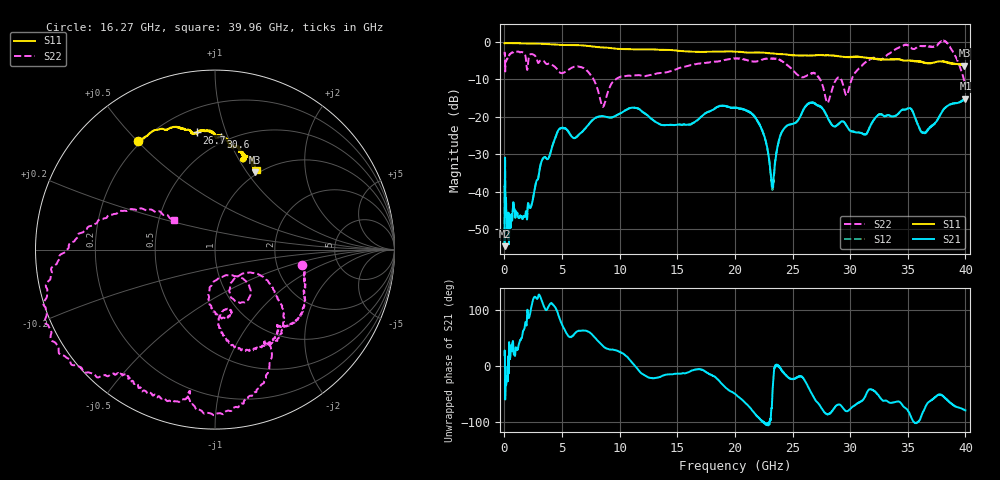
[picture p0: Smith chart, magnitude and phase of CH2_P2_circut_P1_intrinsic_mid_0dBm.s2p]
!Keysight Technologies,N5222B,MY61257109,A.17.25.03
!Date: Tuesday, July 21, 2026 12:24:31
!Correction: S11(C  2-Port  )
!S21(C  2-Port  )
!S12(C  2-Port  )
!S22(C  2-Port  )
!S2P File: Measurements: S11, S21, S12, S22:
# Hz S  dB  R 50
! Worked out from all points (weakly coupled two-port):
!   4000 points, 10 MHz to 40 GHz, reference 50 ohm
!   highest |S21| = -15.14 dB at 40 GHz (marker M1); lowest = -54.5 dB at 10 MHz (marker M2)
!   lowest |S11| = -6.3 dB at 39.92 GHz (marker M3), VSWR 2.88, Z = 48.4 + j54.4 ohm
!   |S11| at or under -10 dB: nowhere
!   |S22| runs from -17.4 to 0.4 dB; largest |S21 - S12| = 0.003
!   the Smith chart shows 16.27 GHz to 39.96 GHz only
!   S11 on the Smith chart (normalised r, x): 16.27 GHz: 0.19, +0.50; 26.7 GHz: 0.34, +0.80; 30.6 GHz: 0.45, +0.94; 39.96 GHz: 0.96, +1.13
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1e7  -0.39 -179.4  -54.45 18.7  -54.08 21.1  -2.64 -58.7
5.1e8  -0.33 177.7  -48.88 15.2  -48.83 15.7  -3.18 168.2
1.59e9  -0.37 173.0  -47.09 59.3  -47.07 59.4  -2.78 107.1
4.69e9  -0.78 159.9  -23.44 89.4  -23.46 89.2  -7.89 27.8
6.68e9  -0.91 152.3  -24.13 62.2  -24.13 62.2  -6.77 5.7
8.55e9  -1.49 145.7  -19.79 34.9  -19.79 34.7  -17.33 6.0
1.334e10  -2.10 133.3  -21.74 -21.5  -21.74 -21.2  -8.38 2.1
1.627e10  -2.62 125.4  -21.79 -8.7  -21.75 -8.6  -6.13 -9.9
2.001e10  -2.62 115.5  -17.62 -50.7  -17.61 -50.6  -4.45 -38.1
2.21e10  -2.82 109.5  -21.93 -93.4  -21.76 -94.3  -4.99 -51.1
2.324e10  -3.07 105.5  -37.83 -52.2  -39.09 -57.4  -4.41 -64.3
2.41e10  -3.29 103.3  -23.86 -10.7  -23.88 -9.3  -5.15 -78.8
2.667e10  -3.58 98.7  -16.12 -50.1  -16.26 -50.3  -8.43 -79.0
2.67e10  -3.60 98.9  -16.24 -51.4  -16.13 -51.2  -8.30 -79.2
2.805e10  -3.58 93.9  -20.22 -87.3  -20.28 -86.7  -16.16 -71.0
3.06e10  -4.02 87.0  -24.14 -67.5  -24.12 -67.8  -7.62 -36.1
3.334e10  -4.69 80.6  -19.57 -65.4  -19.50 -65.5  -3.22 -63.4
3.488e10  -5.00 76.3  -17.96 -77.1  -17.94 -77.2  -0.79 -91.6
3.828e10  -5.40 67.4  -17.45 -58.5  -17.43 -59.3  0.03 -159.9
3.992e10  -6.30 62.8  -15.37 -78.9  -15.30 -78.9  -10.59 144.2
3.996e10  -6.05 62.2  -15.38 -79.6  -15.34 -79.8  -11.02 143.9
4e10  -6.21 63.6  -15.14 -80.1  -15.12 -80.5  -11.47 145.3
